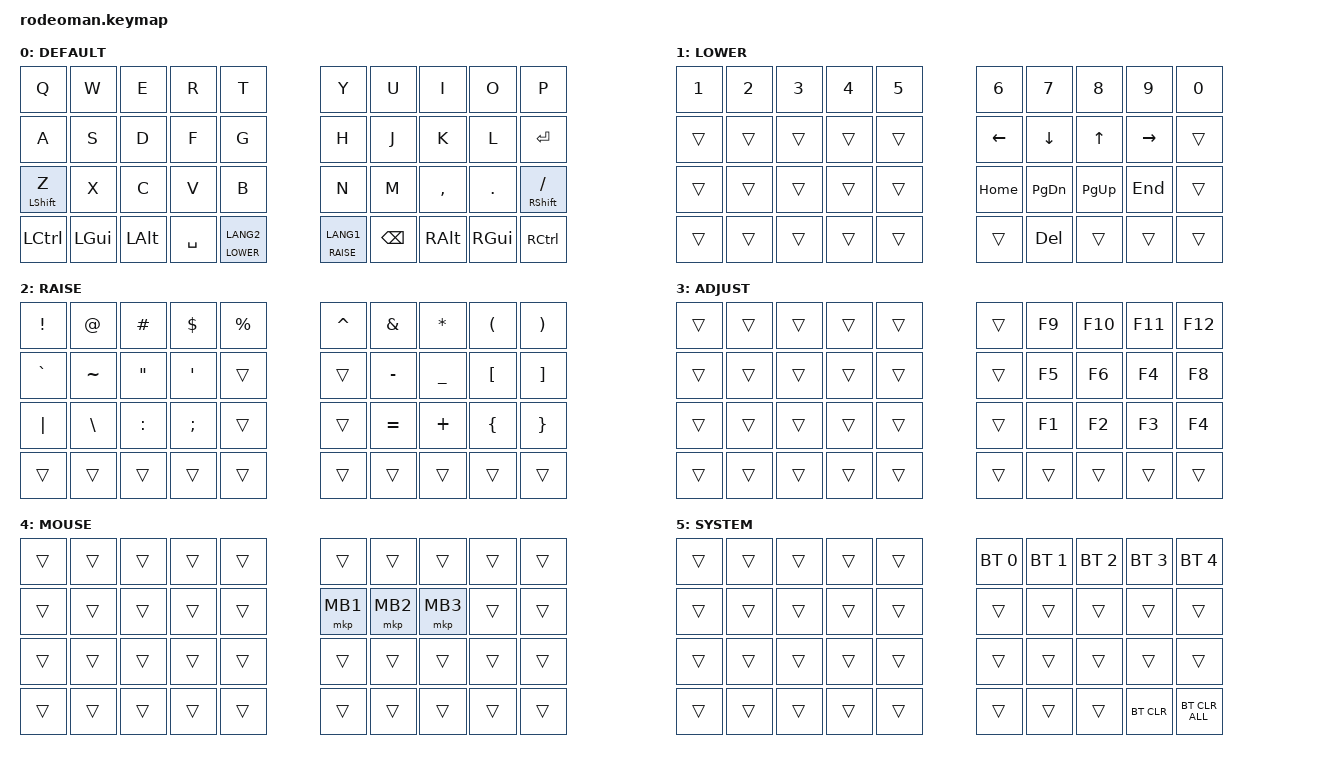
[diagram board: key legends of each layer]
#include <behaviors.dtsi>
#include <dt-bindings/zmk/keys.h>
#include <dt-bindings/zmk/bt.h>
#include <dt-bindings/zmk/pointing.h>

#define DEFAULT 0
#define LOWER 1
#define RAISE 2
#define ADJUST 3
#define MOUSE 4
#define SYSTEM 5

&mt {
    flavor = "balanced";
    tapping-term-ms = <300>;
    quick-tap-ms = <0>;
};

&lt {
    flavor = "balanced";
    tapping-term-ms = <300>;
    quick-tap-ms = <0>;
};

/ {

    conditional_layers {
        compatible = "zmk,conditional-layers";
        tri_layer {
            if-layers = <LOWER RAISE>;
            then-layer = <ADJUST>;
        };
    };

    combos {    
        compatible = "zmk,combos";

        esc {
            bindings = <&kp ESC>;
            key-positions = <0 1>;
            timeout-ms = <120>;
        };

        tab {
            bindings = <&kp TAB>;
            key-positions = <10 11>;
            timeout-ms = <120>;
        };

        system_layer {
            bindings = <&mo SYSTEM>;
            key-positions = <30 31>;
            timeout-ms = <120>;
        };
    };

    behaviors {

    };

    macros {

    };

    keymap {
        compatible = "zmk,keymap"; 

        DEFAULT {
            bindings = <
                &kp Q    &kp W    &kp E    &kp R    &kp T    &kp Y    &kp U    &kp I    &kp O    &kp P
                &kp A    &kp S    &kp D    &kp F    &kp G    &kp H    &kp J    &kp K    &kp L    &kp ENTER
                &mt LSHIFT Z    &kp X    &kp C    &kp V    &kp B    &kp N    &kp M    &kp COMMA    &kp DOT    &mt RSHIFT SLASH
                &kp LCTRL    &kp LGUI    &kp LALT    &kp SPACE    &lt LOWER LANG2    &lt RAISE LANG1    &kp BSPC    &kp RALT    &kp RGUI    &kp RCTRL
            >;
        };

        LOWER {
            bindings = <
                &kp NUMBER_1    &kp NUMBER_2    &kp NUMBER_3    &kp NUMBER_4    &kp NUMBER_5    &kp NUMBER_6    &kp NUMBER_7    &kp NUMBER_8    &kp NUMBER_9    &kp NUMBER_0
                &trans    &trans    &trans    &trans    &trans    &kp LEFT    &kp DOWN    &kp UP    &kp RIGHT    &trans
                &trans    &trans    &trans    &trans    &trans    &kp HOME    &kp PAGE_DOWN    &kp PAGE_UP    &kp END    &trans
                &trans    &trans    &trans    &trans    &trans    &trans    &kp DEL    &trans    &trans    &trans
            >;
        };

        RAISE {
            bindings = <
                &kp EXCLAMATION    &kp AT_SIGN    &kp HASH    &kp DOLLAR    &kp PERCENT    &kp CARET    &kp AMPERSAND    &kp ASTERISK     &kp LPAR    &kp RPAR
                &kp GRAVE    &kp TILDE    &kp DQT    &kp SQT    &trans    &trans    &kp MINUS    &kp UNDER    &kp LBKT    &kp RBKT
                &kp PIPE    &kp BACKSLASH    &kp COLON    &kp SEMICOLON    &trans    &trans    &kp EQUAL    &kp PLUS    &kp LBRC    &kp RBRC
                &trans    &trans    &trans    &trans    &trans    &trans    &trans    &trans    &trans    &trans
            >;
        };

        ADJUST {
            bindings = <
                &trans    &trans    &trans    &trans    &trans    &trans    &kp F9    &kp F10    &kp F11    &kp F12
                &trans    &trans    &trans    &trans    &trans    &trans    &kp F5    &kp F6    &kp F4    &kp F8
                &trans    &trans    &trans    &trans    &trans    &trans    &kp F1    &kp F2    &kp F3    &kp F4
                &trans    &trans    &trans    &trans    &trans    &trans    &trans    &trans    &trans    &trans
            >;
        };

        MOUSE {
            bindings = <
                &trans    &trans    &trans    &trans    &trans    &trans    &trans    &trans    &trans    &trans
                &trans    &trans    &trans    &trans    &trans    &mkp MB1    &mkp MB2    &mkp MB3    &trans    &trans
                &trans    &trans    &trans    &trans    &trans    &trans    &trans    &trans    &trans    &trans
                &trans    &trans    &trans    &trans    &trans    &trans    &trans    &trans    &trans    &trans
            >;
        };

        SYSTEM {
            bindings = <
                &trans    &trans    &trans    &trans    &trans    &bt BT_SEL 0    &bt BT_SEL 1    &bt BT_SEL 2    &bt BT_SEL 3    &bt BT_SEL 4
                &trans    &trans    &trans    &trans    &trans    &trans    &trans    &trans    &trans    &trans
                &trans    &trans    &trans    &trans    &trans    &trans    &trans    &trans    &trans    &trans
                &trans    &trans    &trans    &trans    &trans    &trans    &trans    &trans    &bt BT_CLR    &bt BT_CLR_ALL
            >;
        };
    };
 };
